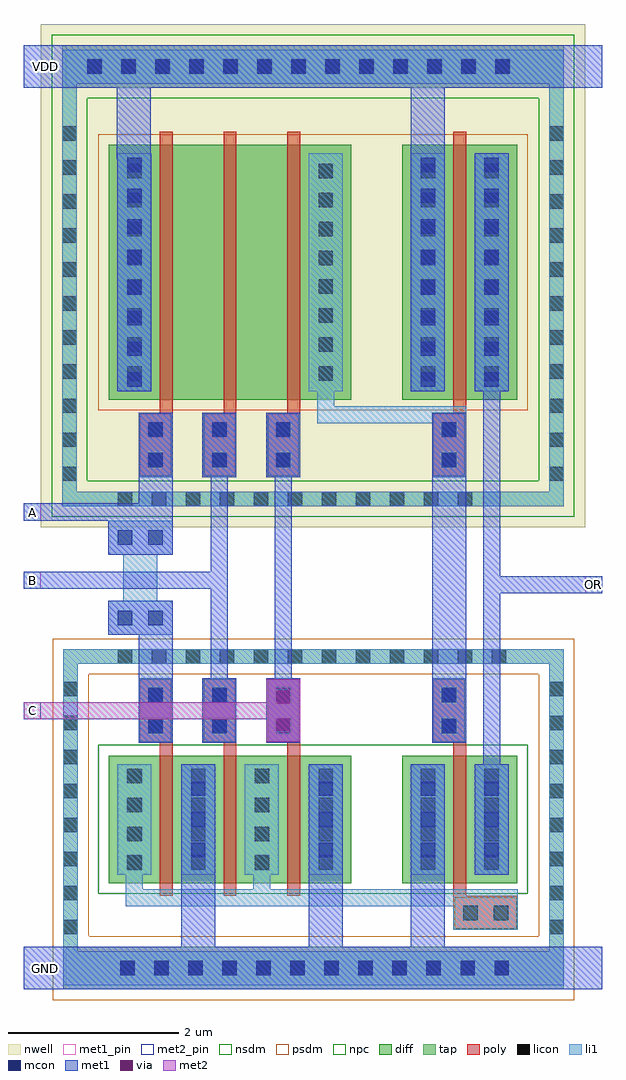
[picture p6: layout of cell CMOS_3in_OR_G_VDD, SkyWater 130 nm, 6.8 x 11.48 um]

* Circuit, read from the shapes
.subckt CMOS_3in_OR_G_VDD A B C GND OR VDD
XM1 GND A n1 GND sky130_fd_pr__nfet_01v8 w=1.5 l=0.15
XM2 n1 B GND GND sky130_fd_pr__nfet_01v8 w=1.5 l=0.15
XM3 GND C n1 GND sky130_fd_pr__nfet_01v8 w=1.5 l=0.15
XM4 OR n1 GND GND sky130_fd_pr__nfet_01v8 w=1.5 l=0.15
XM5 n2 A VDD VDD sky130_fd_pr__pfet_01v8 w=3 l=0.15
XM6 n3 B n2 VDD sky130_fd_pr__pfet_01v8 w=3 l=0.15
XM7 n1 C n3 VDD sky130_fd_pr__pfet_01v8 w=3 l=0.15
XM8 OR n1 VDD VDD sky130_fd_pr__pfet_01v8 w=3 l=0.15
.ends

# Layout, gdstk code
import gdstk
lib = gdstk.Library(unit=1e-6, precision=1e-09)
def R(c, l, rs):  # rectangles x0, y0, x1, y1
    for r in rs: c.add(gdstk.rectangle(r[:2], r[2:], *l))
def A(c, l, x, y, w, h, nx, ny, dx, dy):  # array of equal rectangles
    R(c, l, [(x+i*dx, y+j*dy, x+i*dx+w, y+j*dy+h) for i in range(nx) for j in range(ny)])
nwell = (64, 20)
diff = (65, 20)
tap = (65, 44)
poly = (66, 20)
licon = (66, 44)
li1 = (67, 20)
mcon = (67, 44)
met1_pin = (68, 16)
met1 = (68, 20)
via = (68, 44)
met2_pin = (69, 16)
met2 = (69, 20)
nsdm = (93, 44)
psdm = (94, 20)
npc = (95, 20)

cmos_3in_or_g_vdd = lib.new_cell('CMOS_3in_OR_G_VDD')
R(cmos_3in_or_g_vdd, nwell, [(0.2,5.56,6.6,11.48)])
R(cmos_3in_or_g_vdd, diff, [(1,1.375,3.85,2.875), (4.45,1.375,5.8,2.875), (1,7.06,3.85,10.06), (4.45,7.06,5.8,10.06)])
R(cmos_3in_or_g_vdd, tap, [(0.465,0.125,6.35,0.625), (0.465,0.625,0.635,3.955), (6.18,0.625,6.35,3.955), (0.465,3.955,6.35,4.125), (0.45,5.81,6.35,5.98), (0.45,5.98,0.62,10.73), (6.18,5.98,6.35,10.73), (0.45,10.73,6.35,11.23)])
A(cmos_3in_or_g_vdd, poly, 1.6, 1.225, 0.15, 1.8, 3, 1, 0.75, 0)
A(cmos_3in_or_g_vdd, poly, 1.35, 3.025, 0.4, 0.76, 3, 2, 0.75, 3.125)
A(cmos_3in_or_g_vdd, poly, 1.6, 6.91, 0.15, 3.3, 3, 1, 0.75, 0)
R(cmos_3in_or_g_vdd, poly, [(5.05,0.825,5.81,1.225), (5.05,1.225,5.2,3.025), (4.8,3.025,5.2,3.785), (4.8,6.15,5.2,6.91), (5.05,6.91,5.2,10.21)])
A(cmos_3in_or_g_vdd, licon, 1.135, 0.29, 0.17, 0.17, 12, 1, 0.4, 0)
A(cmos_3in_or_g_vdd, licon, 0.465, 0.775, 0.17, 0.17, 1, 8, 0, 0.4)
A(cmos_3in_or_g_vdd, licon, 6.18, 0.775, 0.17, 0.17, 1, 8, 0, 0.4)
A(cmos_3in_or_g_vdd, licon, 1.215, 1.53, 0.17, 0.17, 4, 4, 0.75, 0.34)
A(cmos_3in_or_g_vdd, licon, 4.665, 1.53, 0.17, 0.17, 1, 4, 0, 0.34)
A(cmos_3in_or_g_vdd, licon, 5.415, 1.53, 0.17, 0.17, 1, 4, 0, 0.34)
A(cmos_3in_or_g_vdd, licon, 1.465, 3.14, 0.17, 0.17, 3, 2, 0.75, 0.36)
A(cmos_3in_or_g_vdd, licon, 1.105, 3.955, 0.17, 0.17, 12, 1, 0.4, 0)
A(cmos_3in_or_g_vdd, licon, 1.105, 5.81, 0.17, 0.17, 11, 1, 0.4, 0)
A(cmos_3in_or_g_vdd, licon, 0.45, 6.105, 0.17, 0.17, 1, 11, 0, 0.4)
A(cmos_3in_or_g_vdd, licon, 6.18, 6.105, 0.17, 0.17, 1, 11, 0, 0.4)
A(cmos_3in_or_g_vdd, licon, 1.465, 6.265, 0.17, 0.17, 3, 2, 0.75, 0.36)
A(cmos_3in_or_g_vdd, licon, 1.215, 7.285, 0.17, 0.17, 1, 8, 0, 0.34)
A(cmos_3in_or_g_vdd, licon, 3.465, 7.285, 0.17, 0.17, 1, 8, 0, 0.34)
A(cmos_3in_or_g_vdd, licon, 4.665, 7.285, 0.17, 0.17, 1, 8, 0, 0.34)
A(cmos_3in_or_g_vdd, licon, 5.415, 7.285, 0.17, 0.17, 1, 8, 0, 0.34)
A(cmos_3in_or_g_vdd, licon, 0.745, 10.895, 0.17, 0.17, 13, 1, 0.4, 0)
R(cmos_3in_or_g_vdd, licon, [(5.165,0.94,5.335,1.11), (5.525,0.94,5.695,1.11), (4.915,3.14,5.085,3.31), (4.915,3.5,5.085,3.67), (4.915,6.265,5.085,6.435), (4.915,6.625,5.085,6.795)])
A(cmos_3in_or_g_vdd, li1, 1.1, 1.475, 0.4, 1.3, 4, 1, 0.75, 0)
A(cmos_3in_or_g_vdd, li1, 1.35, 3.025, 0.4, 0.76, 3, 2, 0.75, 3.125)
R(cmos_3in_or_g_vdd, li1, [(0.465,0.175,6.35,0.575), (0.465,0.575,0.635,3.955), (6.18,0.575,6.35,3.955), (5.05,0.825,5.81,1.105), (1.2,1.105,5.81,1.305), (1.2,1.305,1.4,1.475), (2.7,1.305,2.9,1.475), (4.55,1.475,4.95,2.775), (5.3,1.475,5.7,2.775), (4.8,3.025,5.2,3.785), (0.465,3.955,6.35,4.125), (0.99,4.295,1.75,4.695), (1.17,4.695,1.57,5.24), (0.99,5.24,1.75,5.64), (0.45,5.81,6.35,5.98), (0.45,5.98,0.62,10.78), (6.18,5.98,6.35,10.78), (4.8,6.15,5.2,6.785), (3.45,6.785,5.2,6.985), (3.45,6.985,3.65,7.16), (1.1,7.16,1.5,9.96), (3.35,7.16,3.75,9.96), (4.55,7.16,4.95,9.96), (5.3,7.16,5.7,9.96), (0.45,10.78,6.35,11.18)])
A(cmos_3in_or_g_vdd, mcon, 1.135, 0.29, 0.17, 0.17, 12, 1, 0.4, 0)
A(cmos_3in_or_g_vdd, mcon, 1.965, 1.68, 0.17, 0.17, 1, 3, 0, 0.36)
A(cmos_3in_or_g_vdd, mcon, 3.465, 1.68, 0.17, 0.17, 1, 3, 0, 0.36)
A(cmos_3in_or_g_vdd, mcon, 4.665, 1.68, 0.17, 0.17, 1, 3, 0, 0.36)
A(cmos_3in_or_g_vdd, mcon, 5.415, 1.68, 0.17, 0.17, 1, 3, 0, 0.36)
A(cmos_3in_or_g_vdd, mcon, 1.465, 3.14, 0.17, 0.17, 3, 2, 0.75, 0.36)
A(cmos_3in_or_g_vdd, mcon, 1.465, 6.265, 0.17, 0.17, 3, 2, 0.75, 0.36)
A(cmos_3in_or_g_vdd, mcon, 1.215, 7.215, 0.17, 0.17, 1, 8, 0, 0.36)
A(cmos_3in_or_g_vdd, mcon, 4.665, 7.215, 0.17, 0.17, 1, 8, 0, 0.36)
A(cmos_3in_or_g_vdd, mcon, 5.415, 7.215, 0.17, 0.17, 1, 8, 0, 0.36)
A(cmos_3in_or_g_vdd, mcon, 0.745, 10.895, 0.17, 0.17, 13, 1, 0.4, 0)
R(cmos_3in_or_g_vdd, mcon, [(4.915,3.14,5.085,3.31), (4.915,3.5,5.085,3.67), (1.105,4.41,1.275,4.58), (1.465,4.41,1.635,4.58), (1.105,5.355,1.275,5.525), (1.465,5.355,1.635,5.525), (4.915,6.265,5.085,6.435), (4.915,6.625,5.085,6.795)])
R(cmos_3in_or_g_vdd, met1_pin, [(0,0.125,0.5,0.625), (6.6,4.785,6.8,4.985), (0,4.84,0.2,5.04), (0,5.64,0.2,5.84), (0,10.73,0.5,11.23)])
R(cmos_3in_or_g_vdd, met1, [(0,0.125,6.8,0.625), (1.85,0.625,2.25,2.775), (3.35,0.625,3.75,2.775), (4.55,0.625,4.95,2.775), (5.3,1.475,5.7,2.775), (5.4,2.775,5.6,4.785), (1.35,3.025,1.75,4.295), (2.1,3.025,2.5,3.785), (2.85,3.025,3.25,3.785), (4.8,3.025,5.2,6.91), (2.2,3.785,2.4,4.84), (2.95,3.785,3.15,6.15), (0.99,4.295,1.75,4.695), (5.4,4.785,6.8,4.985), (0,4.84,2.4,5.04), (5.4,4.985,5.6,7.16), (2.2,5.04,2.4,6.15), (0.99,5.24,1.75,5.64), (0,5.64,1.75,5.84), (1.35,5.84,1.75,6.91), (2.1,6.15,2.5,6.91), (2.85,6.15,3.25,6.91), (1.1,7.16,1.5,9.885), (4.55,7.16,4.95,10.73), (5.3,7.16,5.7,9.96), (1.09,9.885,1.5,9.96), (1.09,9.96,1.49,10.73), (0,10.73,6.8,11.23)])
R(cmos_3in_or_g_vdd, via, [(2.975,3.165,3.125,3.315), (2.975,3.485,3.125,3.635)])
R(cmos_3in_or_g_vdd, met2_pin, [(0,3.305,0.2,3.505)])
R(cmos_3in_or_g_vdd, met2, [(2.85,3.04,3.25,3.305), (0,3.305,3.25,3.505), (2.85,3.505,3.25,3.77)])
R(cmos_3in_or_g_vdd, nsdm, [(0.875,1.25,5.925,3), (0.325,5.685,6.475,6.105), (0.325,6.105,0.745,10.605), (6.055,6.105,6.475,10.605), (0.325,10.605,6.475,11.355)])
R(cmos_3in_or_g_vdd, psdm, [(0.34,0,6.475,0.75), (0.34,0.75,0.76,3.83), (6.055,0.75,6.475,3.83), (0.34,3.83,6.475,4.25), (0.875,6.935,5.925,10.185)])
A(cmos_3in_or_g_vdd, npc, 1.365, 3.04, 0.37, 0.73, 3, 2, 0.75, 3.125)
R(cmos_3in_or_g_vdd, npc, [(5.065,0.84,5.795,1.21), (4.815,3.04,5.185,3.77), (4.815,6.165,5.185,6.895)])
cmos_3in_or_g_vdd.add(gdstk.Label('GND', (0.25,0.375), layer=68, texttype=5))
cmos_3in_or_g_vdd.add(gdstk.Label('VDD', (0.25,10.98), layer=68, texttype=5))
cmos_3in_or_g_vdd.add(gdstk.Label('A', (0.1,5.74), layer=68, texttype=5))
cmos_3in_or_g_vdd.add(gdstk.Label('B', (0.1,4.94), layer=68, texttype=5))
cmos_3in_or_g_vdd.add(gdstk.Label('OR', (6.7,4.885), layer=68, texttype=5))
cmos_3in_or_g_vdd.add(gdstk.Label('C', (0.1,3.405), layer=69, texttype=5))

lib.write_gds('CMOS_3in_OR_G_VDD.gds')
